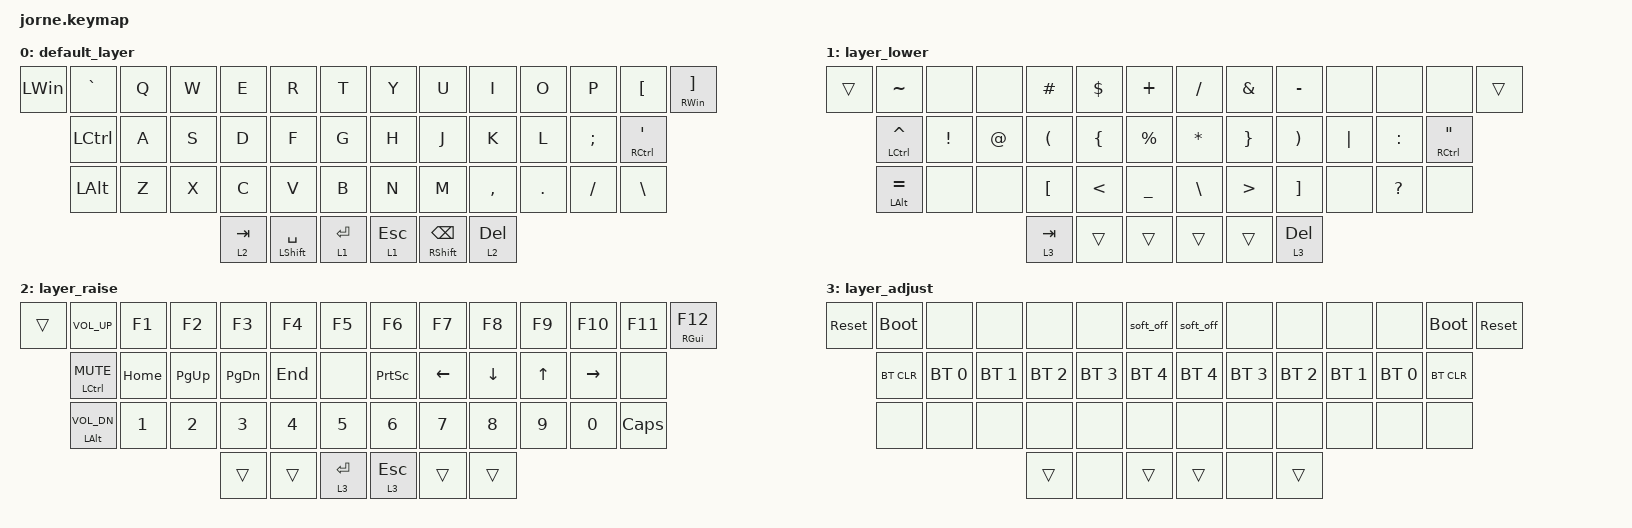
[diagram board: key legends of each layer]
/*
 * Copyright (c) 2020 The ZMK Contributors
 *
 * SPDX-License-Identifier: MIT
 */
/* THIS FILE WAS GENERATED!
 *
 * This file was generated automatically. You may or may not want to
 * edit it directly.
 */

#include <dt-bindings/zmk/behaviors.h>
#include <behaviors.dtsi>
#include <dt-bindings/zmk/bt.h>
#include <dt-bindings/zmk/keys.h>

/ {
    behaviors {
        my_mt: my_mod_tap {
            compatible = "zmk,behavior-hold-tap";
            #binding-cells = <2>;
            flavor = "tap-preferred";
            tapping-term-ms = <250>;
            bindings = <&kp>, <&kp>;

            display-name = "Mod-Tap LSHIFT/Space";
        };

        my_bs_mt: my_backspace_shift {
            compatible = "zmk,behavior-hold-tap";
            #binding-cells = <2>;
            flavor = "tap-preferred";
            tapping-term-ms = <200>;
            quick-tap-ms = <150>;
            retro-tap;
            bindings = <&kp>, <&kp>;

            display-name = "Backspace/Shift";
        };
    };
};

/ {
    keymap {
        compatible = "zmk,keymap";

        default_layer {
            bindings = <
&kp LWIN  &kp GRAVE  &kp Q  &kp W  &kp E      &kp R               &kp T      &kp Y      &kp U                 &kp I      &kp O    &kp P     &kp LBKT       &mt RWIN RBKT
          &kp LCTRL  &kp A  &kp S  &kp D      &kp F               &kp G      &kp H      &kp J                 &kp K      &kp L    &kp SEMI  &mt RCTRL SQT
          &kp LALT   &kp Z  &kp X  &kp C      &kp V               &kp B      &kp N      &kp M                 &kp COMMA  &kp DOT  &kp FSLH  &kp BSLH
                                   &lt 2 TAB  &my_mt LSHFT SPACE  &lt 1 RET  &lt 1 ESC  &my_bs_mt RSHFT BSPC  &lt 2 DEL
            >;
        };

        layer_lower {
            bindings = <
&trans  &kp TILDE        &none     &none   &kp HASH   &kp DLLR  &kp PLUS   &kp SLASH      &kp AMPS  &kp MINUS  &none     &none         &none          &trans
        &mt LCTRL CARET  &kp EXCL  &kp AT  &kp LPAR   &kp LBRC  &kp PRCNT  &kp STAR       &kp RBRC  &kp RPAR   &kp PIPE  &kp COLON     &mt RCTRL DQT
        &mt LALT EQUAL   &none     &none   &kp LBKT   &kp LT    &kp UNDER  &kp BACKSLASH  &kp GT    &kp RBKT   &none     &kp QUESTION  &none
                                           &lt 3 TAB  &trans    &trans     &trans         &trans    &lt 3 DEL
            >;
        };

        layer_raise {
            bindings = <
&trans  &kp C_VOL_UP           &kp F1    &kp F2     &kp F3     &kp F4   &kp F5     &kp F6           &kp F7    &kp F8    &kp F9  &kp F10    &kp F11   &mt RGUI F12
        &mt LCTRL C_MUTE       &kp HOME  &kp PG_UP  &kp PG_DN  &kp END  &none      &kp PRINTSCREEN  &kp LEFT  &kp DOWN  &kp UP  &kp RIGHT  &none
        &mt LEFT_ALT C_VOL_DN  &kp N1    &kp N2     &kp N3     &kp N4   &kp N5     &kp N6           &kp N7    &kp N8    &kp N9  &kp N0     &kp CAPS
                                                    &trans     &trans   &lt 3 RET  &lt 3 ESC        &trans    &trans
            >;
        };

        layer_adjust {
            bindings = <
&sys_reset  &bootloader  &none         &none         &none         &none         &soft_off     &soft_off     &none         &none         &none         &none         &bootloader  &sys_reset
            &bt BT_CLR   &bt BT_SEL 0  &bt BT_SEL 1  &bt BT_SEL 2  &bt BT_SEL 3  &bt BT_SEL 4  &bt BT_SEL 4  &bt BT_SEL 3  &bt BT_SEL 2  &bt BT_SEL 1  &bt BT_SEL 0  &bt BT_CLR
            &none        &none         &none         &none         &none         &none         &none         &none         &none         &none         &none         &none
                                                     &trans        &none         &trans        &trans        &none         &trans
            >;
        };
    };
};
